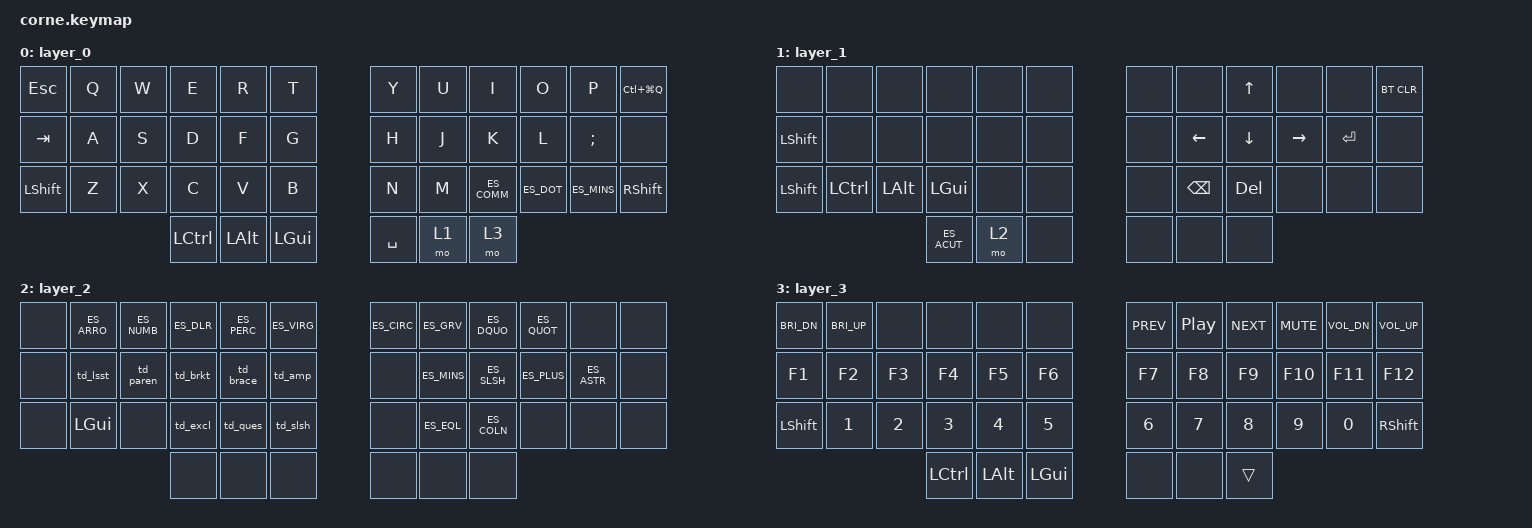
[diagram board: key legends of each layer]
// Migrated from crkbd/keymaps/via. Corne 3x6+3 (42 keys).
#include <behaviors.dtsi>
#include <dt-bindings/zmk/keys.h>
#include <dt-bindings/zmk/bt.h>
#include "spanish_aliases.h"

/ {
    behaviors {
        td_lsst: tap_dance_lsst {
            compatible = "zmk,behavior-tap-dance";
            #binding-cells = <0>;
            tapping-term-ms = <200>;
            bindings = <&kp ES_LABK>, <&kp ES_RABK>;
        };
        td_paren: tap_dance_paren {
            compatible = "zmk,behavior-tap-dance";
            #binding-cells = <0>;
            tapping-term-ms = <200>;
            bindings = <&kp ES_LPRN>, <&kp ES_RPRN>;
        };
        td_brkt: tap_dance_brkt {
            compatible = "zmk,behavior-tap-dance";
            #binding-cells = <0>;
            tapping-term-ms = <200>;
            bindings = <&kp ES_LBRC>, <&kp ES_RBRC>;
        };
        td_brace: tap_dance_brace {
            compatible = "zmk,behavior-tap-dance";
            #binding-cells = <0>;
            tapping-term-ms = <200>;
            bindings = <&kp ES_LCBR>, <&kp ES_RCBR>;
        };
        td_amp: tap_dance_amp {
            compatible = "zmk,behavior-tap-dance";
            #binding-cells = <0>;
            tapping-term-ms = <200>;
            bindings = <&kp ES_AMPR>, <&kp ES_PIPE>;
        };
        td_excl: tap_dance_excl {
            compatible = "zmk,behavior-tap-dance";
            #binding-cells = <0>;
            tapping-term-ms = <200>;
            bindings = <&kp ES_EXLM>, <&kp ES_IEXL>;
        };
        td_ques: tap_dance_ques {
            compatible = "zmk,behavior-tap-dance";
            #binding-cells = <0>;
            tapping-term-ms = <200>;
            bindings = <&kp ES_QUES>, <&kp ES_IQUE>;
        };
        td_slsh: tap_dance_slsh {
            compatible = "zmk,behavior-tap-dance";
            #binding-cells = <0>;
            tapping-term-ms = <200>;
            bindings = <&kp ES_SLSH>, <&kp ES_BSLS>;
        };
    };
    keymap {
        compatible = "zmk,keymap";
        layer_0 {
            bindings = <
                &kp ESC               &kp Q                 &kp W                 &kp E                 &kp R                 &kp T                 &kp Y                 &kp U                 &kp I                 &kp O                 &kp P                 &kp LC(LG(Q))
                &kp TAB               &kp A                 &kp S                 &kp D                 &kp F                 &kp G                 &kp H                 &kp J                 &kp K                 &kp L                 &kp SEMICOLON         &none
                &kp LSHFT             &kp Z                 &kp X                 &kp C                 &kp V                 &kp B                 &kp N                 &kp M                 &kp ES_COMM           &kp ES_DOT            &kp ES_MINS           &kp RSHFT
                &kp LCTRL             &kp LALT              &kp LGUI              &kp SPACE             &mo 1                 &mo 3
            >;
        };
        layer_1 {
            bindings = <
                &none                 &none                 &none                 &none                 &none                 &none                 &none                 &none                 &kp UP                &none                 &none                 &bt BT_CLR
                &kp LSHFT             &none                 &none                 &none                 &none                 &none                 &none                 &kp LEFT              &kp DOWN              &kp RIGHT             &kp ENTER             &none
                &kp LSHFT             &kp LCTRL             &kp LALT              &kp LGUI              &none                 &none                 &none                 &kp BSPC              &kp DEL               &none                 &none                 &none
                &kp ES_ACUT           &mo 2                 &none                 &none                 &none                 &none
            >;
        };
        layer_2 {
            bindings = <
                &none                 &kp ES_ARRO           &kp ES_NUMB           &kp ES_DLR            &kp ES_PERC           &kp ES_VIRG           &kp ES_CIRC           &kp ES_GRV            &kp ES_DQUO           &kp ES_QUOT           &none                 &none
                &none                 &td_lsst              &td_paren             &td_brkt              &td_brace             &td_amp               &none                 &kp ES_MINS           &kp ES_SLSH           &kp ES_PLUS           &kp ES_ASTR           &none
                &none                 &kp LGUI              &none                 &td_excl              &td_ques              &td_slsh              &none                 &kp ES_EQL            &kp ES_COLN           &none                 &none                 &none
                &none                 &none                 &none                 &none                 &none                 &none
            >;
        };
        // Hold the outer right thumb for function keys.
        layer_3 {
            bindings = <
                &kp C_BRI_DN          &kp C_BRI_UP          &none                 &none                 &none                 &none                 &kp C_PREV            &kp C_PP              &kp C_NEXT            &kp C_MUTE            &kp C_VOL_DN          &kp C_VOL_UP
                &kp F1                &kp F2                &kp F3                &kp F4                &kp F5                &kp F6                &kp F7                &kp F8                &kp F9                &kp F10               &kp F11               &kp F12
                &kp LSHFT             &kp N1                &kp N2                &kp N3                &kp N4                &kp N5                &kp N6                &kp N7                &kp N8                &kp N9                &kp N0                &kp RSHFT
                &kp LCTRL             &kp LALT              &kp LGUI              &none                 &none                 &trans
            >;
        };
    };
};
